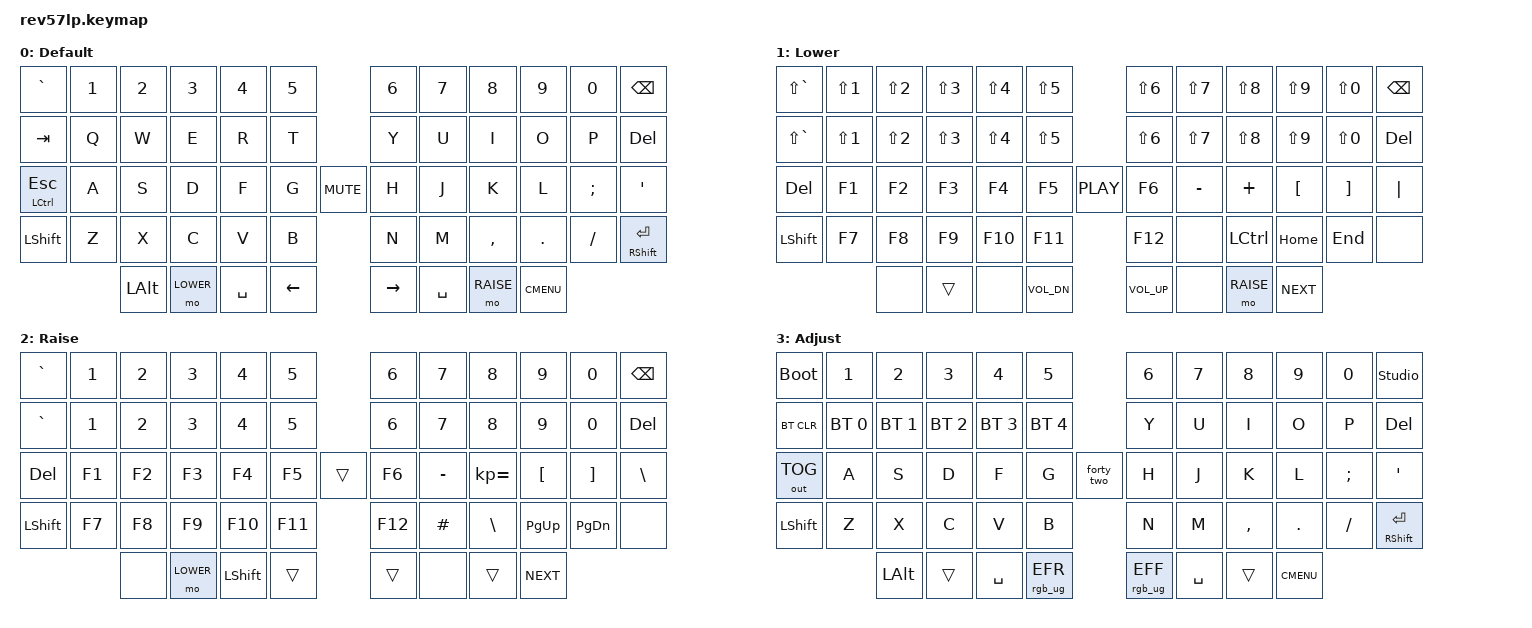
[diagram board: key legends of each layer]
/*
 * Copyright (c) 2022 The ZMK Contributors
 *
 * SPDX-License-Identifier: MIT
 */

#include <behaviors.dtsi>
#include <dt-bindings/zmk/keys.h>
#include <dt-bindings/zmk/bt.h>
#include <dt-bindings/zmk/outputs.h>
#include <dt-bindings/zmk/rgb.h>

#define DEFAULT 0
#define LOWER   1
#define RAISE   2

/ {
    conditional_layers {
        compatible = "zmk,conditional-layers";
        tri_layer {
            if-layers = <1 2>;
            then-layer = <3>;
        };
    };

    macros {
        forty_two: forty_two {
            label = "ZM_forty_two";
            compatible = "zmk,behavior-macro";
            #binding-cells = <0>;
            bindings
                = <&macro_tap &kp N4>
                , <&macro_tap &kp N2>
                ;
        };
    };

    keymap {
        compatible = "zmk,keymap";
        default_layer {
            display-name = "Default";
            //  -------------------------------------------------------------------------------------------------
            // |  GRAV |  1   |  2   |  3   |  4    |  5     |   6     |  7     |  8   |  9    |   0   | BSPC   |
            // |  TAB  |  Q   |  W   |  E   |  R    |  T     |   Y     |  U     |  I   |  O    |   P   | DEL    |
            // |  ESC  |  A   |  S   |  D   |  F    |  G     |   H     |  J     |  K   |  L    |   ;   |  '     |
            // | SHIFT |  Z   |  X   |  C   |  V    |  B     |   N     |  M     |  ,   |  .    |   /   | RET    |
            // |       | LGUI | LALT | LCTL | LOWER | SPACE  |  SPACE  |  RAISE | LEFT |  DOWN |   UP  | RIGHT  |
            bindings = <
                &kp GRAVE    &kp N1     &kp N2    &kp N3    &kp N4     &kp N5                           &kp N6     &kp N7     &kp N8     &kp N9    &kp N0     &kp BSPC
                &kp TAB      &kp Q      &kp W     &kp E     &kp R      &kp T                            &kp Y      &kp U      &kp I      &kp O     &kp P      &kp DEL
                &mt LCTL ESC &kp A      &kp S     &kp D     &kp F      &kp G          &kp C_MUTE        &kp H      &kp J      &kp K      &kp L     &kp SEMI   &kp SQT
                &kp LSHIFT   &kp Z      &kp X     &kp C     &kp V      &kp B                            &kp N      &kp M      &kp COMMA  &kp DOT   &kp SLASH  &mt RSHIFT RET
                                                  &kp LALT  &mo LOWER  &kp SPACE  &kp LEFT   &kp RIGHT  &kp SPACE  &mo RAISE  &kp K_CMENU
                >;
        };
        lower {
            display-name = "Lower";
            // ------------------------------------------------------------------------------------------
            // |   ~   |  !   |  @   |  #   |  $   |  %   |   ^   |   &   |   *  |  (   |   )   | BSPC  |
            // |   ~   |  !   |  @   |  #   |  $   |  %   |   ^   |   &   |   *  |  (   |   )   | DEL   |
            // |  DEL  |  F1  |  F2  |  F3  |  F4  |  F5  |  F6   |   -   |   +  |  [   |   ]   |  |    |
            // |       |  F7  |  F8  |  F9  |  F10 |  F11 |  F12  |       | LCTL | HOME |  END  |       |
            // | LALT  |      |      |      |      |      |       |       | NEXT | VOL- | VOL+  | PLAY  |
            bindings = <
                &kp LS(GRAVE)  &kp LS(N1)  &kp LS(N2)  &kp LS(N3)  &kp LS(N4)  &kp LS(N5)                              &kp LS(N6)  &kp LS(N7)  &kp LS(N8)  &kp LS(N9)        &kp LS(N0)         &kp BSPC
                &kp LS(GRAVE)  &kp LS(N1)  &kp LS(N2)  &kp LS(N3)  &kp LS(N4)  &kp LS(N5)                              &kp LS(N6)  &kp LS(N7)  &kp LS(N8)  &kp LS(N9)        &kp LS(N0)         &kp DEL
                &kp DEL        &kp F1      &kp F2      &kp F3      &kp F4      &kp F5              &kp C_PLAY          &kp F6      &kp MINUS   &kp PLUS    &kp LEFT_BRACKET  &kp RIGHT_BRACKET  &kp PIPE
                &kp LSHIFT     &kp F7      &kp F8      &kp F9      &kp F10     &kp F11                                 &kp F12     &none       &kp LCTRL   &kp HOME          &kp END            &none
                                                       &none       &trans      &none       &kp C_VOL_DN  &kp C_VOL_UP  &none       &mo RAISE   &kp C_NEXT
                >;
        };
        raise {
            display-name = "Raise";
            // -------------------------------------------------------------------------------------------
            // |   `   |  1   |  2   |  3   |  4   |   5   |   6   |   7   |   8  |  9   |   0   | BSPC  |
            // |   `   |  1   |  2   |  3   |  4   |   5   |   6   |   7   |   8  |  9   |   0   | DEL   |
            // |  DEL  |  F1  |  F2  |  F3  |  F4  |  F5   |  F6   |   -   |   =  |  [   |   ]   |  \    |
            // |       |  F7  |  F8  |  F9  |  F10 |  F11  |  F12  |   #   |   \  | PGUP |  PGDN |       |
            // |       |      |      |      |      | SHIFT |       |       | NEXT | VOL- |  VOL+ | PLAY  |
            bindings = <
                &kp GRAVE  &kp N1  &kp N2  &kp N3  &kp N4    &kp N5                            &kp N6   &kp N7     &kp N8        &kp N9            &kp N0             &kp BSPC
                &kp GRAVE  &kp N1  &kp N2  &kp N3  &kp N4    &kp N5                            &kp N6   &kp N7     &kp N8        &kp N9            &kp N0             &kp DEL
                &kp DEL    &kp F1  &kp F2  &kp F3  &kp F4    &kp F5           &trans           &kp F6   &kp MINUS  &kp KP_EQUAL  &kp LEFT_BRACKET  &kp RIGHT_BRACKET  &kp BSLH
                &kp LSHIFT &kp F7  &kp F8  &kp F9  &kp F10   &kp F11                           &kp F12  &kp HASH   &kp BSLH      &kp PG_UP         &kp PG_DN          &none
                                           &none   &mo LOWER &kp LSHIFT   &trans    &trans     &none    &trans     &kp C_NEXT
                >;
        };
        adj {
            display-name = "Adjust";
            //  -------------------------------------------------------------------------------------------------
            // |  GRAV |  1   |  2   |  3   |  4    |  5     |   6     |  7     |  8   |  9    |   0   | BSPC   |
            // |  TAB  |  Q   |  W   |  E   |  R    |  T     |   Y     |  U     |  I   |  O    |   P   | DEL    |
            // |  ESC  |  A   |  S   |  D   |  F    |  G     |   H     |  J     |  K   |  L    |   ;   |  '     |
            // | SHIFT |  Z   |  X   |  C   |  V    |  B     |   N     |  M     |  ,   |  .    |   /   | RET    |
            // |       | LGUI | LALT | LCTL | LOWER | SPACE  |  SPACE  |  RAISE | LEFT |  DOWN |   UP  | RIGHT  |
            bindings = <
                &bootloader  &kp N1       &kp N2       &kp N3       &kp N4       &kp N5                           &kp N6     &kp N7     &kp N8     &kp N9    &kp N0     &studio_unlock
                &bt BT_CLR   &bt BT_SEL 0 &bt BT_SEL 1 &bt BT_SEL 2 &bt BT_SEL 3 &bt BT_SEL 4                     &kp Y      &kp U      &kp I      &kp O     &kp P      &kp DEL
                &out OUT_TOG &kp A        &kp S        &kp D        &kp F        &kp G          &forty_two        &kp H      &kp J      &kp K      &kp L     &kp SEMI   &kp SQT
                &kp LSHIFT   &kp Z        &kp X        &kp C        &kp V        &kp B                            &kp N      &kp M      &kp COMMA  &kp DOT   &kp SLASH  &mt RSHIFT RET
                                                  &kp LALT  &trans     &kp SPACE  &rgb_ug RGB_EFR &rgb_ug RGB_EFF &kp SPACE  &trans     &kp K_CMENU
                >;
        };

        // Spare layers that ZMK Studio can turn into new layers.
        extra1 {
            status = "reserved";
        };

        extra2 {
            status = "reserved";
        };
    };
};
